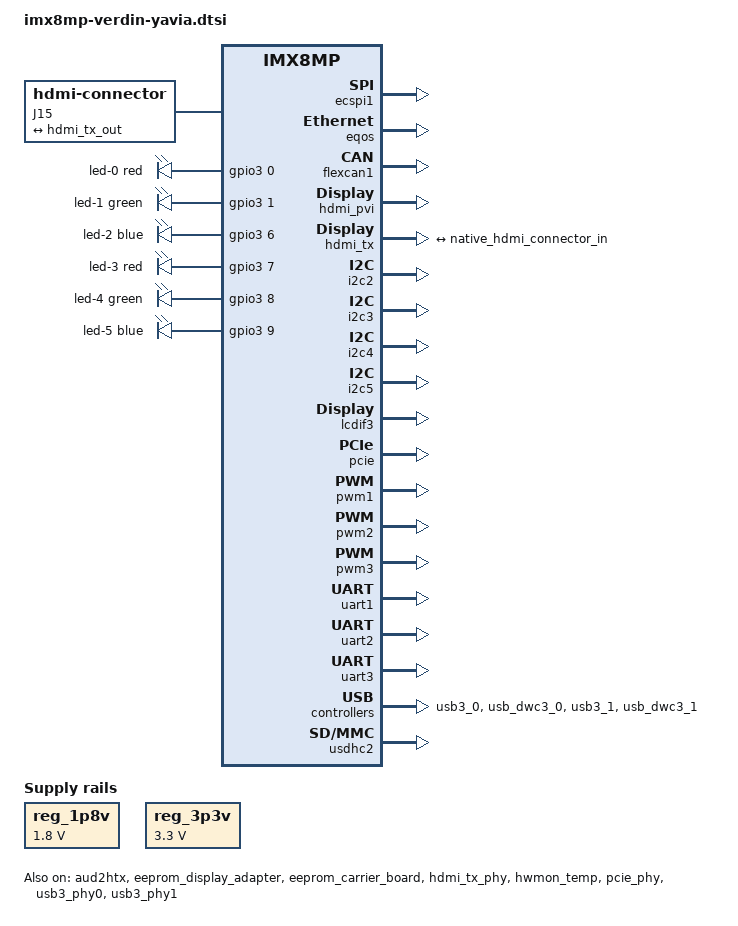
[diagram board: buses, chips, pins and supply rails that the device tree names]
// SPDX-License-Identifier: GPL-2.0-or-later OR MIT
/*
 * Copyright 2023 Toradex
 */

#include <dt-bindings/leds/common.h>

/ {
	native-hdmi-connector {
		compatible = "hdmi-connector";
		label = "J15";
		type = "a";

		port {
			native_hdmi_connector_in: endpoint {
				remote-endpoint = <&hdmi_tx_out>;
			};
		};
	};

	/* Carrier Board Supply +V1.8 */
	reg_1p8v: regulator-1p8v {
		compatible = "regulator-fixed";
		regulator-max-microvolt = <1800000>;
		regulator-min-microvolt = <1800000>;
		regulator-name = "+V1.8_SW";
	};

	/* Carrier Board Supply +V3.3 */
	reg_3p3v: regulator-3p3v {
		compatible = "regulator-fixed";
		regulator-max-microvolt = <3300000>;
		regulator-min-microvolt = <3300000>;
		regulator-name = "+V3.3_SW";
	};

	leds {
		compatible = "gpio-leds";

		pinctrl-names = "default";
		pinctrl-0 = <&pinctrl_leds_yavia>;

		/* SODIMM 52 - LD1_RED */
		led-0 {
			color = <LED_COLOR_ID_RED>;
			function = LED_FUNCTION_DEBUG;
			function-enumerator = <1>;
			gpios = <&gpio3 0 GPIO_ACTIVE_HIGH>;
		};
		/* SODIMM 54 - LD1_GREEN */
		led-1 {
			color = <LED_COLOR_ID_GREEN>;
			function = LED_FUNCTION_DEBUG;
			function-enumerator = <1>;
			gpios = <&gpio3 1 GPIO_ACTIVE_HIGH>;
		};
		/* SODIMM 56 - LD1_BLUE */
		led-2 {
			color = <LED_COLOR_ID_BLUE>;
			function = LED_FUNCTION_DEBUG;
			function-enumerator = <1>;
			gpios = <&gpio3 6 GPIO_ACTIVE_HIGH>;
		};
		/* SODIMM 58 - LD2_RED */
		led-3 {
			color = <LED_COLOR_ID_RED>;
			function = LED_FUNCTION_DEBUG;
			function-enumerator = <2>;
			gpios = <&gpio3 7 GPIO_ACTIVE_HIGH>;
		};
		/* SODIMM 60 - LD2_GREEN */
		led-4 {
			color = <LED_COLOR_ID_GREEN>;
			function = LED_FUNCTION_DEBUG;
			function-enumerator = <2>;
			gpios = <&gpio3 8 GPIO_ACTIVE_HIGH>;
		};
		/* SODIMM 62 - LD2_BLUE */
		led-5 {
			color = <LED_COLOR_ID_BLUE>;
			function = LED_FUNCTION_DEBUG;
			function-enumerator = <2>;
			gpios = <&gpio3 9 GPIO_ACTIVE_HIGH>;
		};
	};
};

/* Verdin HDMI_1 Audio */
&aud2htx {
	status = "okay";
};

&backlight {
	power-supply = <&reg_3p3v>;
};

/* Verdin SPI_1 */
&ecspi1 {
	status = "okay";
};

/* EEPROM on display adapter boards */
&eeprom_display_adapter {
	status = "okay";
};

/* EEPROM on Verdin Yavia board */
&eeprom_carrier_board {
	status = "okay";
};

&eqos {
	status = "okay";
};

&flexcan1 {
	status = "okay";
};

&gpio4 {
	pinctrl-names = "default";
	pinctrl-0 = <&pinctrl_ctrl_sleep_moci>;
};

/* Verdin HDMI_1 */
&hdmi_pvi {
	status = "okay";
};

&hdmi_tx {
	status = "okay";

	ports {
		port@1 {
			hdmi_tx_out: endpoint {
				remote-endpoint = <&native_hdmi_connector_in>;
			};
		};
	};
};

&hdmi_tx_phy {
	status = "okay";
};

&hwmon_temp {
	status = "okay";
};

/* Verdin I2C_2_DSI */
&i2c2 {
	status = "okay";
};

&i2c3 {
	status = "okay";
};

&i2c4 {
	status = "okay";
};

/* Verdin I2C_3_HDMI */
&i2c5 {
	status = "okay";
};

&lcdif3 {
	status = "okay";
};

/* Verdin PCIE_1 */
&pcie {
	status = "okay";
};

&pcie_phy {
	status = "okay";
};

/* Verdin PWM_1 */
&pwm1 {
	status = "okay";
};

/* Verdin PWM_2 */
&pwm2 {
	status = "okay";
};

/* Verdin PWM_3_DSI */
&pwm3 {
	status = "okay";
};

&reg_usdhc2_vmmc {
	vin-supply = <&reg_3p3v>;
};

/* Verdin HDMI_1 Audio */
&sound_hdmi {
	status = "okay";
};

/* Verdin UART_1 */
&uart1 {
	status = "okay";
};

/* Verdin UART_2 */
&uart2 {
	status = "okay";
};

/* Verdin UART_3, used as the Linux Console */
&uart3 {
	status = "okay";
};

/* Verdin USB_1 */
&usb3_phy0 {
	status = "okay";
};

&usb3_0 {
	status = "okay";
};

&usb_dwc3_0 {
	status = "okay";
};

/* Verdin USB_2 */
&usb3_phy1 {
	status = "okay";
};

&usb3_1 {
	status = "okay";
};

&usb_dwc3_1 {
	status = "okay";
};

/* Verdin SD_1 */
&usdhc2 {
	status = "okay";
};

&iomuxc {
	pinctrl_leds_yavia: ledsyaviagrp {
		fsl,pins = <
			MX8MP_IOMUXC_NAND_ALE__GPIO3_IO00	0x106	/* SODIMM 52 */
			MX8MP_IOMUXC_NAND_CE0_B__GPIO3_IO01	0x106	/* SODIMM 54 */
			MX8MP_IOMUXC_NAND_DATA00__GPIO3_IO06	0x106	/* SODIMM 56 */
			MX8MP_IOMUXC_NAND_DATA01__GPIO3_IO07	0x106	/* SODIMM 58 */
			MX8MP_IOMUXC_NAND_DATA02__GPIO3_IO08	0x106	/* SODIMM 60 */
			MX8MP_IOMUXC_NAND_DATA03__GPIO3_IO09	0x106	/* SODIMM 62 */
		>;
	};

	pinctrl_gpios_ext_yavia: gpiosextyaviagrp {
		fsl,pins = <
			MX8MP_IOMUXC_NAND_CE1_B__GPIO3_IO02	0x106	/* SODIMM 64 */
			MX8MP_IOMUXC_NAND_DQS__GPIO3_IO14	0x106	/* SODIMM 66 */
		>;
	};
};
